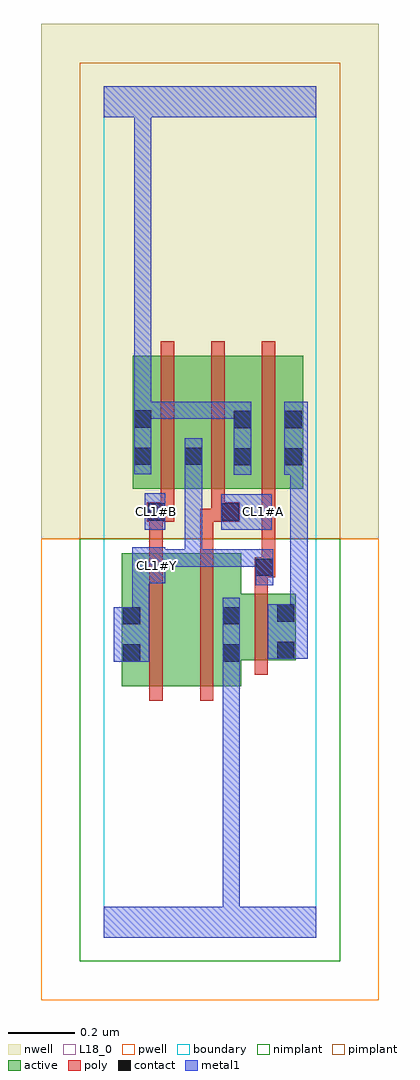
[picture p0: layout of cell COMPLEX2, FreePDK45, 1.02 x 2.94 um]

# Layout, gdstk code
import gdstk
lib = gdstk.Library(unit=1e-6, precision=1e-09)
def R(c, l, rs):  # rectangles x0, y0, x1, y1
    for r in rs: c.add(gdstk.rectangle(r[:2], r[2:], *l))
def A(c, l, x, y, w, h, nx, ny, dx, dy):  # array of equal rectangles
    R(c, l, [(x+i*dx, y+j*dy, x+i*dx+w, y+j*dy+h) for i in range(nx) for j in range(ny)])
active = (1, 0)
pwell = (2, 0)
nwell = (3, 0)
nimplant = (4, 0)
pimplant = (5, 0)
poly = (9, 0)
contact = (10, 0)
metal1 = (11, 0)
L18_0 = (18, 0)
boundary = (235, 0)

complex2 = lib.new_cell('COMPLEX2')
R(complex2, active, [(0.054,0.756,0.234,1.156), (0.054,0.756,0.114,1.156), (0.234,0.756,0.414,1.156), (0.354,0.756,0.414,0.998), (0.354,0.834,0.578,1.034), (0.518,0.834,0.578,1.034), (0.088,1.35,0.148,1.644), (0.088,1.35,0.3,1.75), (0.24,1.35,0.3,1.644), (0.24,1.35,0.448,1.75), (0.388,1.35,0.448,1.644), (0.388,1.35,0.6,1.75), (0.54,1.35,0.6,1.644)])
R(complex2, pwell, [(-0.188,-0.188,0.828,1.2)])
R(complex2, nwell, [(-0.188,1.2,0.828,2.748)])
R(complex2, nimplant, [(-0.072,-0.072,0.712,1.2)])
R(complex2, pimplant, [(-0.072,1.2,0.712,2.632)])
A(complex2, poly, 0.172, 1.306, 0.04, 0.488, 3, 1, 0.152, 0)
R(complex2, poly, [(0.138,0.712,0.178,1.2), (0.29,0.712,0.33,1.2), (0.454,0.79,0.494,1.078), (0.454,1.038,0.494,1.124), (0.454,1.084,0.516,1.144), (0.476,1.104,0.516,1.346), (0.476,1.104,0.516,1.144), (0.476,1.104,0.516,1.144), (0.138,1.16,0.178,1.29), (0.29,1.16,0.33,1.29), (0.13,1.25,0.212,1.31), (0.138,1.25,0.178,1.29), (0.138,1.25,0.178,1.29), (0.29,1.25,0.364,1.29), (0.324,1.25,0.364,1.29), (0.324,1.25,0.41,1.31), (0.172,1.27,0.212,1.346), (0.324,1.27,0.364,1.346)])
R(complex2, contact, [(0.058,0.83,0.11,0.882), (0.358,0.83,0.41,0.882), (0.522,0.838,0.574,0.89), (0.058,0.942,0.11,0.994), (0.358,0.942,0.41,0.994), (0.522,0.95,0.574,1.002), (0.458,1.088,0.51,1.14), (0.134,1.254,0.186,1.306), (0.354,1.254,0.406,1.306), (0.392,1.42,0.444,1.472), (0.544,1.42,0.596,1.472), (0.092,1.422,0.144,1.474), (0.244,1.422,0.296,1.474), (0.392,1.532,0.444,1.584), (0.544,1.532,0.596,1.584), (0.092,1.534,0.144,1.586)])
R(complex2, metal1, [(0,0,0.64,0.092), (0.358,0.04,0.41,0.092), (0.358,0.04,0.41,0.092), (0.358,0.04,0.41,0.854), (0.358,0.802,0.41,0.854), (0.358,0.802,0.41,0.854), (0.358,0.802,0.41,0.854), (0.358,0.802,0.41,0.854), (0.358,0.802,0.41,0.854), (0.358,0.802,0.41,0.854), (0.358,0.802,0.41,0.854), (0.358,0.802,0.41,0.854), (0.358,0.802,0.41,0.854), (0.358,0.802,0.41,0.854), (0.358,0.802,0.41,1.022), (0.03,0.83,0.138,0.994), (0.494,0.838,0.614,1.002), (0.086,0.942,0.138,1.118), (0.562,0.95,0.614,1.002), (0.562,0.95,0.614,1.002), (0.562,0.95,0.614,1.444), (0.458,1.06,0.51,1.168), (0.086,1.066,0.186,1.174), (0.134,1.116,0.186,1.168), (0.134,1.116,0.186,1.168), (0.134,1.116,0.296,1.168), (0.244,1.116,0.296,1.168), (0.244,1.116,0.296,1.168), (0.244,1.116,0.296,1.168), (0.244,1.116,0.296,1.168), (0.244,1.116,0.296,1.168), (0.244,1.116,0.436,1.168), (0.244,1.116,0.296,1.446), (0.384,1.116,0.436,1.168), (0.384,1.116,0.51,1.168), (0.124,1.226,0.186,1.336), (0.354,1.226,0.506,1.334), (0.392,1.392,0.444,1.612), (0.544,1.392,0.614,1.612), (0.562,1.392,0.614,1.444), (0.562,1.392,0.614,1.444), (0.092,1.394,0.144,1.614), (0.244,1.394,0.296,1.502), (0.092,1.56,0.144,1.612), (0.092,1.56,0.144,1.612), (0.092,1.56,0.296,1.612), (0.244,1.56,0.296,1.612), (0.244,1.56,0.296,1.612), (0.244,1.56,0.296,1.612), (0.244,1.56,0.444,1.612), (0.092,1.562,0.144,1.614), (0.092,1.562,0.144,1.614), (0.092,1.562,0.144,1.614), (0.092,1.562,0.144,1.614), (0.092,1.562,0.144,1.614), (0.092,1.562,0.144,1.614), (0.092,1.562,0.144,1.614), (0.092,1.562,0.144,1.614), (0.092,1.562,0.144,1.614), (0.092,1.562,0.144,1.614), (0.092,1.562,0.144,1.614), (0.092,1.562,0.144,1.614), (0.092,1.562,0.144,1.614), (0.092,1.562,0.144,1.614), (0.092,1.562,0.144,2.52), (0,2.468,0.64,2.56), (0.092,2.468,0.144,2.52), (0.092,2.468,0.144,2.52)])
R(complex2, L18_0, [(0,0,0.64,0.092), (0.358,0.04,0.41,0.092), (0.358,0.04,0.41,0.092), (0.358,0.04,0.41,0.854), (0.358,0.802,0.41,1.022), (0.358,0.802,0.41,0.854), (0.358,0.802,0.41,0.854), (0.358,0.802,0.41,0.854), (0.358,0.802,0.41,0.854), (0.358,0.802,0.41,0.854), (0.358,0.802,0.41,0.854), (0.358,0.802,0.41,0.854), (0.358,0.802,0.41,0.854), (0.358,0.802,0.41,0.854), (0.358,0.802,0.41,0.854), (0.03,0.83,0.138,0.994), (0.086,0.942,0.138,1.118), (0.458,1.06,0.51,1.168), (0.086,1.066,0.186,1.174), (0.134,1.094,0.186,1.146), (0.134,1.116,0.186,1.168), (0.134,1.116,0.186,1.168), (0.134,1.116,0.296,1.168), (0.244,1.116,0.296,1.168), (0.244,1.116,0.296,1.168), (0.244,1.116,0.296,1.168), (0.244,1.116,0.296,1.168), (0.244,1.116,0.296,1.168), (0.244,1.116,0.296,1.446), (0.244,1.116,0.436,1.168), (0.384,1.116,0.436,1.168), (0.384,1.116,0.51,1.168), (0.124,1.226,0.186,1.336), (0.354,1.226,0.506,1.334), (0.134,1.254,0.186,1.306), (0.454,1.254,0.506,1.306), (0.392,1.392,0.444,1.612), (0.092,1.394,0.144,1.614), (0.244,1.394,0.296,1.502), (0.092,1.56,0.144,1.612), (0.092,1.56,0.144,1.612), (0.092,1.56,0.296,1.612), (0.244,1.56,0.296,1.612), (0.244,1.56,0.296,1.612), (0.244,1.56,0.296,1.612), (0.244,1.56,0.444,1.612), (0.092,1.562,0.144,1.614), (0.092,1.562,0.144,1.614), (0.092,1.562,0.144,1.614), (0.092,1.562,0.144,1.614), (0.092,1.562,0.144,1.614), (0.092,1.562,0.144,1.614), (0.092,1.562,0.144,1.614), (0.092,1.562,0.144,1.614), (0.092,1.562,0.144,1.614), (0.092,1.562,0.144,1.614), (0.092,1.562,0.144,1.614), (0.092,1.562,0.144,1.614), (0.092,1.562,0.144,1.614), (0.092,1.562,0.144,1.614), (0.092,1.562,0.144,2.52), (0,2.468,0.64,2.56), (0.092,2.468,0.144,2.52), (0.092,2.468,0.144,2.52)])
R(complex2, boundary, [(0,0,0.64,2.56)])
complex2.add(gdstk.Label('CL1#A', (0.48,1.28), layer=11, texttype=0))
complex2.add(gdstk.Label('CL1#B', (0.16,1.28), layer=11, texttype=0))
complex2.add(gdstk.Label('CL1#Y', (0.16,1.12), layer=11, texttype=0))

lib.write_gds('COMPLEX2.gds')
